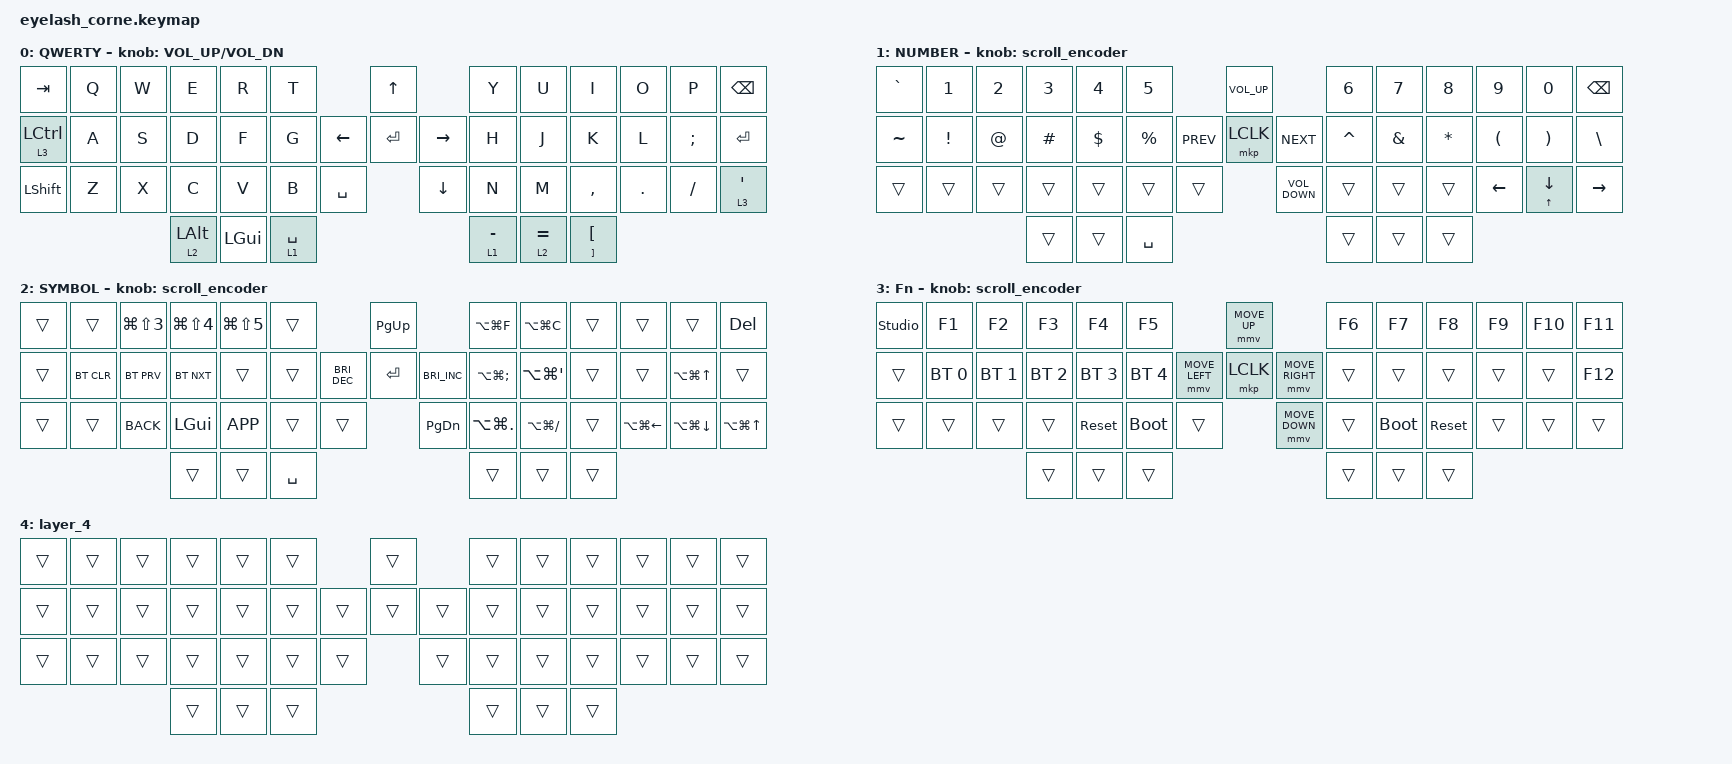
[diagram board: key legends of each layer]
#define ZMK_POINTING_DEFAULT_MOVE_VAL 1200  // 600
#define ZMK_POINTING_DEFAULT_SCRL_VAL 25   // 10

#include <input/processors.dtsi>
#include <zephyr/dt-bindings/input/input-event-codes.h>
#include <behaviors.dtsi>
#include <dt-bindings/zmk/bt.h>
#include <dt-bindings/zmk/keys.h>
#include <dt-bindings/zmk/pointing.h>
#include <dt-bindings/zmk/rgb.h>

&mmv_input_listener { input-processors = <&zip_xy_scaler 2 1>; };

&msc_input_listener { input-processors = <&zip_scroll_scaler 2 1>; };

&msc {
    acceleration-exponent = <1>;      // 0
    time-to-max-speed-ms = <100>;       // 300
    delay-ms = <0>;                   // 0
};

&mmv {
    time-to-max-speed-ms = <500>;
    acceleration-exponent = <1>;
    trigger-period-ms = <16>;
};

&soft_off { hold-time-ms = <2000>; };

/ {
    behaviors {
        td0: td0 {
            compatible = "zmk,behavior-tap-dance";
            display-name = "Shift/Caps Lock Tap Dance";
            #binding-cells = <0>;
            bindings = <&kp LEFT_SHIFT>, <&kp CAPS>;
        };
    };

    rgb_encoder: rgb_encoder {
        compatible = "zmk,behavior-sensor-rotate";
        #sensor-binding-cells = <0>;
        bindings = <&rgb_ug RGB_BRI>, <&rgb_ug RGB_BRD>;
    };

    scroll_encoder: scroll_encoder {
        compatible = "zmk,behavior-sensor-rotate";
        #sensor-binding-cells = <0>;
        bindings = <&msc SCRL_DOWN>, <&msc SCRL_UP>;

        tap-ms = <100>;
    };

    combos {
        compatible = "zmk,combos";

        capslock {
            bindings = <&kp CAPSLOCK>;
            key-positions = <17 23>;
        };

        esc {
            bindings = <&kp ESCAPE>;
            key-positions = <0 1>;
        };

        q_mark {
            bindings = <&kp QMARK>;
            key-positions = <40 41>;
        };
    };

    macros {
        einkcentre: einkcentre {
            compatible = "zmk,behavior-macro";
            #binding-cells = <0>;
            bindings = <&none>;
            label = "EINKCENTRE";
        };
    };

    keymap {
        compatible = "zmk,keymap";

        default_layer {
            display-name = "QWERTY";
            bindings = <
&kp TAB             &kp Q  &kp W  &kp E           &kp R         &kp T                               &kp UP                &kp Y        &kp U        &kp I                           &kp O    &kp P     &kp BSPC
&lt 3 LEFT_CONTROL  &kp A  &kp S  &kp D           &kp F         &kp G                     &kp LEFT  &kp ENTER  &kp RIGHT  &kp H        &kp J        &kp K                           &kp L    &kp SEMI  &kp ENTER
&kp LEFT_SHIFT      &kp Z  &kp X  &kp C           &kp V         &kp B        &kp SPACE              &kp DOWN              &kp N        &kp M        &kp COMMA                       &kp DOT  &kp FSLH  &lt 3 SQT
                                  &lt 2 LEFT_ALT  &kp LEFT_GUI  &lt 1 SPACE                                               &lt 1 MINUS  &lt 2 EQUAL  &mt RIGHT_BRACKET LEFT_BRACKET
            >;

            sensor-bindings = <&inc_dec_kp C_VOLUME_UP C_VOL_DN>;
        };

        lower_layer {
            display-name = "NUMBER";
            bindings = <
&kp GRAVE  &kp N1           &kp N2  &kp N3    &kp N4    &kp N5                           &kp C_VOLUME_UP                &kp N6     &kp N7    &kp N8    &kp N9    &kp N0       &kp BSPC
&kp TILDE  &kp EXCLAMATION  &kp AT  &kp HASH  &kp DLLR  &kp PRCNT            &kp C_PREV  &mkp LCLK          &kp C_NEXT  &kp CARET  &kp AMPS  &kp STAR  &kp LPAR  &kp RPAR     &kp BACKSLASH
&trans     &trans           &trans  &trans    &trans    &trans     &trans                &kp C_VOLUME_DOWN              &trans     &trans    &trans    &kp LEFT  &mt UP DOWN  &kp RIGHT
                                    &trans    &trans    &kp SPACE                                                       &trans     &trans    &trans
            >;

            sensor-bindings = <&scroll_encoder>;
        };

        raise_layer {
            display-name = "SYMBOL";
            bindings = <
&trans  &trans      &kp LG(LS(NUMBER_3))  &kp LG(LS(NUMBER_4))  &kp LG(LS(N5))  &trans                                     &kp PAGE_UP                          &kp LA(LG(F))          &kp LA(LG(C))      &trans  &trans            &trans                &kp DELETE
&trans  &bt BT_CLR  &bt BT_PRV            &bt BT_NXT            &trans          &trans               &kp C_BRIGHTNESS_DEC  &kp ENTER      &kp C_BRIGHTNESS_INC  &kp LA(LG(SEMICOLON))  &kp LA(LG(SQT))    &trans  &trans            &kp LA(LG(UP_ARROW))  &trans
&trans  &trans      &kp K_BACK            &kp LGUI              &kp K_APP       &trans     &trans                          &kp PAGE_DOWN                        &kp LA(LG(PERIOD))     &kp LA(LG(SLASH))  &trans  &kp LA(LG(LEFT))  &kp LA(LG(DOWN))      &kp LA(LG(UP))
                                          &trans                &trans          &kp SPACE                                                                       &trans                 &trans             &trans
            >;

            sensor-bindings = <&scroll_encoder>;
        };

        layer_3 {
            display-name = "Fn";
            bindings = <
&studio_unlock  &kp F1        &kp F2        &kp F3        &kp F4        &kp F5                                  &mmv MOVE_UP                     &kp F6  &kp F7       &kp F8      &kp F9  &kp F10  &kp F11
&trans          &bt BT_SEL 0  &bt BT_SEL 1  &bt BT_SEL 2  &bt BT_SEL 3  &bt BT_SEL 4            &mmv MOVE_LEFT  &mkp LCLK       &mmv MOVE_RIGHT  &trans  &trans       &trans      &trans  &trans   &kp F12
&trans          &trans        &trans        &trans        &sys_reset    &bootloader   &trans                    &mmv MOVE_DOWN                   &trans  &bootloader  &sys_reset  &trans  &trans   &trans
                                            &trans        &trans        &trans                                                                   &trans  &trans       &trans
            >;

            sensor-bindings = <&scroll_encoder>;
        };

        layer_4 {
            bindings = <
&trans  &trans  &trans  &trans  &trans  &trans                    &trans          &trans  &trans  &trans  &trans  &trans  &trans
&trans  &trans  &trans  &trans  &trans  &trans            &trans  &trans  &trans  &trans  &trans  &trans  &trans  &trans  &trans
&trans  &trans  &trans  &trans  &trans  &trans  &trans            &trans          &trans  &trans  &trans  &trans  &trans  &trans
                        &trans  &trans  &trans                                    &trans  &trans  &trans
            >;
        };
    };
};
